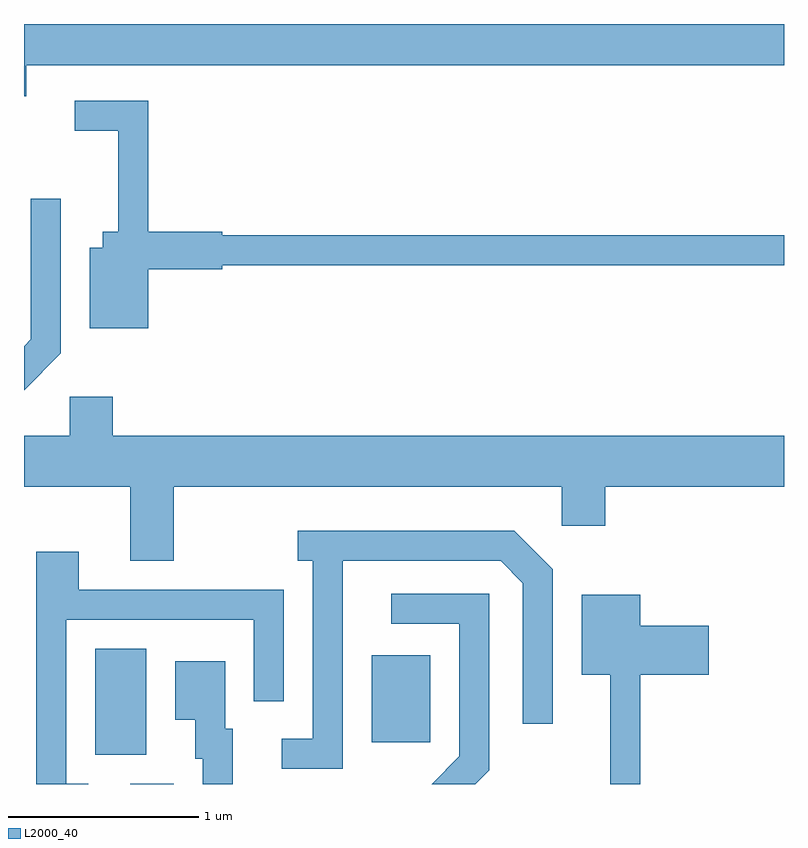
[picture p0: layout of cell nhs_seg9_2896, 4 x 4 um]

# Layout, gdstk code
import gdstk
lib = gdstk.Library(unit=1e-6, precision=1e-09)
def R(c, l, rs):  # rectangles x0, y0, x1, y1
    for r in rs: c.add(gdstk.rectangle(r[:2], r[2:], *l))
def P(c, l, *ps):  # polygons
    for p in ps: c.add(gdstk.Polygon(p, *l))
L2000_40 = (2000, 40)

nhs_seg9_2896 = lib.new_cell('nhs_seg9_2896')
R(nhs_seg9_2896, L2000_40, [(270.171,2032.432,270.399,2032.434), (269.986,2032.586,270.254,2033.144), (271.441,2032.651,271.749,2033.109)])
P(nhs_seg9_2896, L2000_40, [(269.624,2036.216),(273.611,2036.216),(273.611,2036.432),(269.611,2036.432),(269.611,2036.051),(269.624,2036.051)],
  [(270.264,2035.141),(270.654,2035.141),(270.654,2035.161),(273.611,2035.161),(273.611,2035.319),(270.654,2035.319),(270.654,2035.339),(270.264,2035.339),(270.264,2036.029),(269.878,2036.029),(269.878,2035.871),(270.106,2035.871),(270.106,2035.339),(270.026,2035.339),(270.026,2035.254),(269.956,2035.254),(269.956,2034.831),(270.264,2034.831)],
  [(269.804,2034.699),(269.804,2035.513),(269.646,2035.513),(269.646,2034.772),(269.611,2034.737),(269.611,2034.505)],
  [(270.399,2033.996),(272.441,2033.996),(272.441,2033.791),(272.669,2033.791),(272.669,2033.996),(273.611,2033.996),(273.611,2034.264),(270.079,2034.264),(270.079,2034.469),(269.851,2034.469),(269.851,2034.264),(269.611,2034.264),(269.611,2033.996),(270.171,2033.996),(270.171,2033.606),(270.399,2033.606)],
  [(271.289,2033.606),(272.119,2033.606),(272.236,2033.489),(272.236,2032.748),(272.394,2032.748),(272.394,2033.562),(272.192,2033.764),(271.053,2033.764),(271.053,2033.606),(271.131,2033.606),(271.131,2032.669),(270.968,2032.669),(270.968,2032.511),(271.289,2032.511)],
  [(269.948,2032.434),(269.834,2032.434),(269.834,2033.296),(270.821,2033.296),(270.821,2032.868),(270.979,2032.868),(270.979,2033.454),(269.899,2033.454),(269.899,2033.654),(269.676,2033.654),(269.676,2032.432),(269.948,2032.432)],
  [(272.059,2032.504),(272.059,2033.434),(271.543,2033.434),(271.543,2033.276),(271.901,2033.276),(271.901,2032.577),(271.757,2032.432),(271.987,2032.432)],
  [(272.854,2033.006),(273.214,2033.006),(273.214,2033.264),(272.854,2033.264),(272.854,2033.429),(272.546,2033.429),(272.546,2033.006),(272.696,2033.006),(272.696,2032.432),(272.854,2032.432)],
  [(270.709,2032.724),(270.669,2032.724),(270.669,2033.079),(270.406,2033.079),(270.406,2032.771),(270.511,2032.771),(270.511,2032.566),(270.551,2032.566),(270.551,2032.432),(270.709,2032.432)])

lib.write_gds('nhs_seg9_2896.gds')
